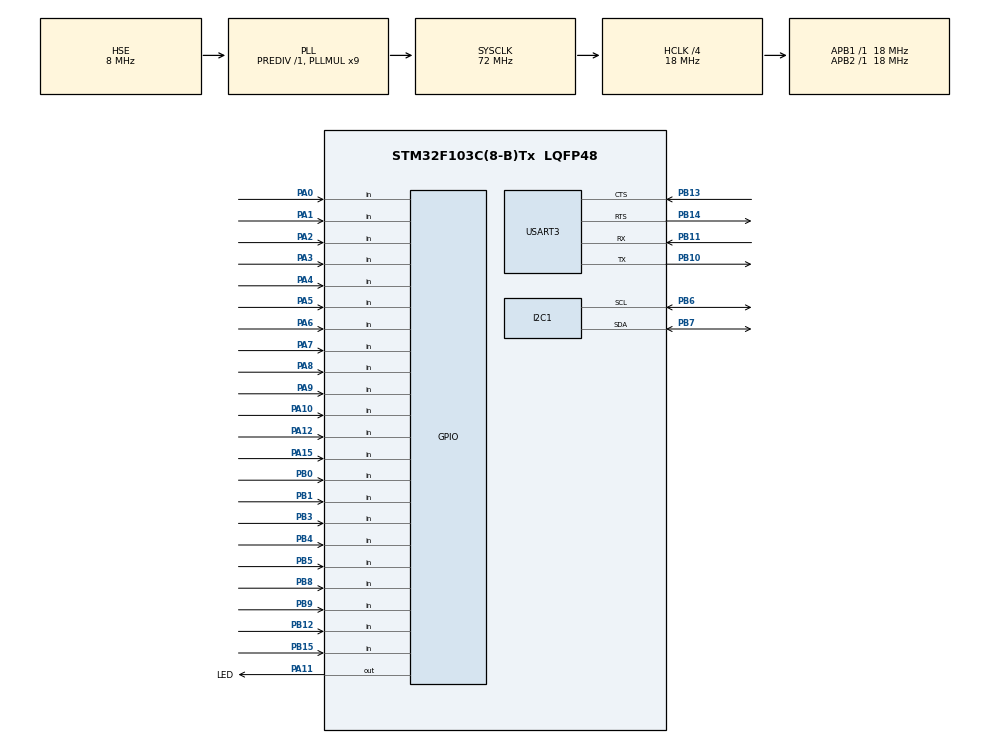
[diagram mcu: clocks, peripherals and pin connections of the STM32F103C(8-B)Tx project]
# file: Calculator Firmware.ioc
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Mcu.Family=STM32F1
Mcu.Name=STM32F103C(8-B)Tx
Mcu.Package=LQFP48
NVIC.PriorityGroup=NVIC_PRIORITYGROUP_4
PA0-WKUP.GPIO_PuPd=GPIO_PULLUP
PA0-WKUP.Signal=GPIO_Input
PA1.GPIO_PuPd=GPIO_PULLUP
PA1.Signal=GPIO_Input
PA10.GPIO_PuPd=GPIO_PULLUP
PA10.Signal=GPIO_Input
PA11.GPIO_Label=LED
PA11.Signal=GPIO_Output
PA12.GPIO_PuPd=GPIO_PULLUP
PA12.Signal=GPIO_Input
PA13.Mode=Serial_Wire
PA13.Signal=SYS_JTMS-SWDIO
PA14.Mode=Serial_Wire
PA14.Signal=SYS_JTCK-SWCLK
PA15.GPIO_PuPd=GPIO_PULLUP
PA15.Signal=GPIO_Input
PA2.GPIO_PuPd=GPIO_PULLUP
PA2.Signal=GPIO_Input
PA3.GPIO_PuPd=GPIO_PULLUP
PA3.Signal=GPIO_Input
PA4.GPIO_PuPd=GPIO_PULLUP
PA4.Signal=GPIO_Input
PA5.GPIO_PuPd=GPIO_PULLUP
PA5.Signal=GPIO_Input
PA6.GPIO_PuPd=GPIO_PULLUP
PA6.Signal=GPIO_Input
PA7.GPIO_PuPd=GPIO_PULLUP
PA7.Signal=GPIO_Input
PA8.GPIO_PuPd=GPIO_PULLUP
PA8.Signal=GPIO_Input
PA9.GPIO_PuPd=GPIO_PULLUP
PA9.Signal=GPIO_Input
PB0.GPIO_PuPd=GPIO_PULLUP
PB0.Signal=GPIO_Input
PB1.GPIO_PuPd=GPIO_PULLUP
PB1.Signal=GPIO_Input
PB10.Mode=Asynchronous
PB10.Signal=USART3_TX
PB11.Mode=Asynchronous
PB11.Signal=USART3_RX
PB12.GPIO_PuPd=GPIO_PULLUP
PB12.Signal=GPIO_Input
PB13.Mode=CTS_RTS
PB13.Signal=USART3_CTS
PB14.Mode=CTS_RTS
PB14.Signal=USART3_RTS
PB15.GPIO_PuPd=GPIO_PULLUP
PB15.Signal=GPIO_Input
PB3.GPIO_PuPd=GPIO_PULLUP
PB3.Signal=GPIO_Input
PB4.GPIO_PuPd=GPIO_PULLUP
PB4.Signal=GPIO_Input
PB5.GPIO_PuPd=GPIO_PULLUP
PB5.Signal=GPIO_Input
PB6.Mode=I2C
PB6.Signal=I2C1_SCL
PB7.Mode=I2C
PB7.Signal=I2C1_SDA
PB8.GPIO_PuPd=GPIO_PULLUP
PB8.Signal=GPIO_Input
PB9.GPIO_PuPd=GPIO_PULLUP
PB9.Signal=GPIO_Input
PD0-OSC_IN.Mode=HSE-External-Oscillator
PD0-OSC_IN.Signal=RCC_OSC_IN
PD1-OSC_OUT.Mode=HSE-External-Oscillator
PD1-OSC_OUT.Signal=RCC_OSC_OUT
ProjectManager.HeapSize=0x200
ProjectManager.StackSize=0x400
ProjectManager.TargetToolchain=STM32CubeIDE
RCC.AHBCLKDivider=RCC_SYSCLK_DIV4
RCC.AHBFreq_Value=18000000
RCC.APB1Freq_Value=18000000
RCC.APB1TimFreq_Value=18000000
RCC.APB2Freq_Value=18000000
RCC.APB2TimFreq_Value=18000000
RCC.HCLKFreq_Value=18000000
RCC.PLLMUL=RCC_PLL_MUL9
RCC.PLLSourceVirtual=RCC_PLLSOURCE_HSE
RCC.SYSCLKFreq_VALUE=72000000
RCC.SYSCLKSource=RCC_SYSCLKSOURCE_PLLCLK
RCC.USBFreq_Value=48000000
RCC.USBPrescaler=RCC_USBCLKSOURCE_PLL_DIV1_5
TIM1.Period=0xffff-1
TIM1.Prescaler=18-1
USART3.VirtualMode=VM_ASYNC
VP_TIM1_VS_ClockSourceINT.Mode=Internal
board=custom

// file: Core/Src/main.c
/* USER CODE BEGIN Header */
/**
  ******************************************************************************
  * @file           : main.c
  * @brief          : Main program body
  ******************************************************************************
  * @attention
  *
  * Copyright (c) 2024 STMicroelectronics.
  * All rights reserved.
  *
  * This software is licensed under terms that can be found in the LICENSE file
  * in the root directory of this software component.
  * If no LICENSE file comes with this software, it is provided AS-IS.
  *
  ******************************************************************************
  */
/* USER CODE END Header */
#include "main.h"

/* USER CODE BEGIN Includes */
#include "button.h"
#include "display.h"
#include "math.h"
/* USER CODE END Includes */

void SystemClock_Config(void);
static void MX_GPIO_Init(void);
static void MX_I2C1_Init(void);
static void MX_USART3_UART_Init(void);
static void MX_TIM1_Init(void);

int main(void)
{

  /* MCU Configuration--------------------------------------------------------*/

  /* Reset of all peripherals, Initializes the Flash interface and the Systick. */
  HAL_Init();

  /* Configure the system clock */
  SystemClock_Config();

  /* Initialize all configured peripherals */
  MX_GPIO_Init();
  MX_I2C1_Init();
  MX_USART3_UART_Init();
  MX_TIM1_Init();
  /* USER CODE BEGIN 2 */
  HAL_TIM_Base_Start(&htim1);
  LCD_Init();

  char entry;
  pinMappings *pins[2] = {pinsA, pinsB};
  int pinNums[2] = {13, 9}; //Don't forget to edit this as needed
  GPIO_TypeDef *gpioPort;

  HAL_Delay(1500);
  sendCommand(CLEAR_DISPLAY);
  Delay_us(2000);
  positionCursor(1, 1);

  /* USER CODE END 2 */

  /* Infinite loop */
  /* USER CODE BEGIN WHILE */
  while (1)
  {
	  for (int i = 0; i < 2; i++) {
	    for (int j = 0; j < pinNums[i]; j++) {
	      if (i == 0)
	    	  gpioPort = GPIOA;
	      else
	    	  gpioPort = GPIOB;

	      if (buttonPressed(gpioPort, pins[i][j].key)) {
	          entry = pins[i][j].value;
	          print1Char(entry);
	          blinkLED(200);
	          break;
	      }
	    }
	  }

	  //Once we have determined what the entry is, we can run the code from the main while loop in the Repl program

    /* USER CODE END WHILE */

  }
}

void SystemClock_Config(void)
{
  RCC_OscInitTypeDef RCC_OscInitStruct = {0};
  RCC_ClkInitTypeDef RCC_ClkInitStruct = {0};

  /** Initializes the RCC Oscillators according to the specified parameters
  * in the RCC_OscInitTypeDef structure.
  */
  RCC_OscInitStruct.OscillatorType = RCC_OSCILLATORTYPE_HSE;
  RCC_OscInitStruct.HSEState = RCC_HSE_ON;
  RCC_OscInitStruct.HSEPredivValue = RCC_HSE_PREDIV_DIV1;
  RCC_OscInitStruct.HSIState = RCC_HSI_ON;
  RCC_OscInitStruct.PLL.PLLState = RCC_PLL_ON;
  RCC_OscInitStruct.PLL.PLLSource = RCC_PLLSOURCE_HSE;
  RCC_OscInitStruct.PLL.PLLMUL = RCC_PLL_MUL9;
  if (HAL_RCC_OscConfig(&RCC_OscInitStruct) != HAL_OK)
  {
    Error_Handler();
  }

  /** Initializes the CPU, AHB and APB buses clocks
  */
  RCC_ClkInitStruct.ClockType = RCC_CLOCKTYPE_HCLK|RCC_CLOCKTYPE_SYSCLK
                              |RCC_CLOCKTYPE_PCLK1|RCC_CLOCKTYPE_PCLK2;
  RCC_ClkInitStruct.SYSCLKSource = RCC_SYSCLKSOURCE_PLLCLK;
  RCC_ClkInitStruct.AHBCLKDivider = RCC_SYSCLK_DIV4;
  RCC_ClkInitStruct.APB1CLKDivider = RCC_HCLK_DIV1;
  RCC_ClkInitStruct.APB2CLKDivider = RCC_HCLK_DIV1;

  if (HAL_RCC_ClockConfig(&RCC_ClkInitStruct, FLASH_LATENCY_2) != HAL_OK)
  {
    Error_Handler();
  }
}

static void MX_I2C1_Init(void)
{

  hi2c1.Instance = I2C1;
  hi2c1.Init.ClockSpeed = 100000;
  hi2c1.Init.DutyCycle = I2C_DUTYCYCLE_2;
  hi2c1.Init.OwnAddress1 = 0;
  hi2c1.Init.AddressingMode = I2C_ADDRESSINGMODE_7BIT;
  hi2c1.Init.DualAddressMode = I2C_DUALADDRESS_DISABLE;
  hi2c1.Init.OwnAddress2 = 0;
  hi2c1.Init.GeneralCallMode = I2C_GENERALCALL_DISABLE;
  hi2c1.Init.NoStretchMode = I2C_NOSTRETCH_DISABLE;
  if (HAL_I2C_Init(&hi2c1) != HAL_OK)
  {
    Error_Handler();
  }

}

static void MX_TIM1_Init(void)
{

  TIM_ClockConfigTypeDef sClockSourceConfig = {0};
  TIM_MasterConfigTypeDef sMasterConfig = {0};

  htim1.Instance = TIM1;
  htim1.Init.Prescaler = 18-1;
  htim1.Init.CounterMode = TIM_COUNTERMODE_UP;
  htim1.Init.Period = 0xffff-1;
  htim1.Init.ClockDivision = TIM_CLOCKDIVISION_DIV1;
  htim1.Init.RepetitionCounter = 0;
  htim1.Init.AutoReloadPreload = TIM_AUTORELOAD_PRELOAD_DISABLE;
  if (HAL_TIM_Base_Init(&htim1) != HAL_OK)
  {
    Error_Handler();
  }
  sClockSourceConfig.ClockSource = TIM_CLOCKSOURCE_INTERNAL;
  if (HAL_TIM_ConfigClockSource(&htim1, &sClockSourceConfig) != HAL_OK)
  {
    Error_Handler();
  }
  sMasterConfig.MasterOutputTrigger = TIM_TRGO_RESET;
  sMasterConfig.MasterSlaveMode = TIM_MASTERSLAVEMODE_DISABLE;
  if (HAL_TIMEx_MasterConfigSynchronization(&htim1, &sMasterConfig) != HAL_OK)
  {
    Error_Handler();
  }

}

static void MX_USART3_UART_Init(void)
{

  huart3.Instance = USART3;
  huart3.Init.BaudRate = 115200;
  huart3.Init.WordLength = UART_WORDLENGTH_8B;
  huart3.Init.StopBits = UART_STOPBITS_1;
  huart3.Init.Parity = UART_PARITY_NONE;
  huart3.Init.Mode = UART_MODE_TX_RX;
  huart3.Init.HwFlowCtl = UART_HWCONTROL_RTS_CTS;
  huart3.Init.OverSampling = UART_OVERSAMPLING_16;
  if (HAL_UART_Init(&huart3) != HAL_OK)
  {
    Error_Handler();
  }

}

static void MX_GPIO_Init(void)
{
  GPIO_InitTypeDef GPIO_InitStruct = {0};

  /* GPIO Ports Clock Enable */
  __HAL_RCC_GPIOD_CLK_ENABLE();
  __HAL_RCC_GPIOA_CLK_ENABLE();
  __HAL_RCC_GPIOB_CLK_ENABLE();

  /*Configure GPIO pin Output Level */
  HAL_GPIO_WritePin(LED_GPIO_Port, LED_Pin, GPIO_PIN_RESET);

  /*Configure GPIO pins : PA0 PA1 PA2 PA3
                           PA4 PA5 PA6 PA7
                           PA8 PA9 PA10 PA12
                           PA15 */
  GPIO_InitStruct.Pin = GPIO_PIN_0|GPIO_PIN_1|GPIO_PIN_2|GPIO_PIN_3
                          |GPIO_PIN_4|GPIO_PIN_5|GPIO_PIN_6|GPIO_PIN_7
                          |GPIO_PIN_8|GPIO_PIN_9|GPIO_PIN_10|GPIO_PIN_12
                          |GPIO_PIN_15;
  GPIO_InitStruct.Mode = GPIO_MODE_INPUT;
  GPIO_InitStruct.Pull = GPIO_PULLUP;
  HAL_GPIO_Init(GPIOA, &GPIO_InitStruct);

  /*Configure GPIO pins : PB0 PB1 PB12 PB15
                           PB3 PB4 PB5 PB8
                           PB9 */
  GPIO_InitStruct.Pin = GPIO_PIN_0|GPIO_PIN_1|GPIO_PIN_12|GPIO_PIN_15
                          |GPIO_PIN_3|GPIO_PIN_4|GPIO_PIN_5|GPIO_PIN_8
                          |GPIO_PIN_9;
  GPIO_InitStruct.Mode = GPIO_MODE_INPUT;
  GPIO_InitStruct.Pull = GPIO_PULLUP;
  HAL_GPIO_Init(GPIOB, &GPIO_InitStruct);

  /*Configure GPIO pin : LED_Pin */
  GPIO_InitStruct.Pin = LED_Pin;
  GPIO_InitStruct.Mode = GPIO_MODE_OUTPUT_PP;
  GPIO_InitStruct.Pull = GPIO_NOPULL;
  GPIO_InitStruct.Speed = GPIO_SPEED_FREQ_LOW;
  HAL_GPIO_Init(LED_GPIO_Port, &GPIO_InitStruct);

}

void Error_Handler(void)
{
  __disable_irq();
  while (1)
  {
  }
}
